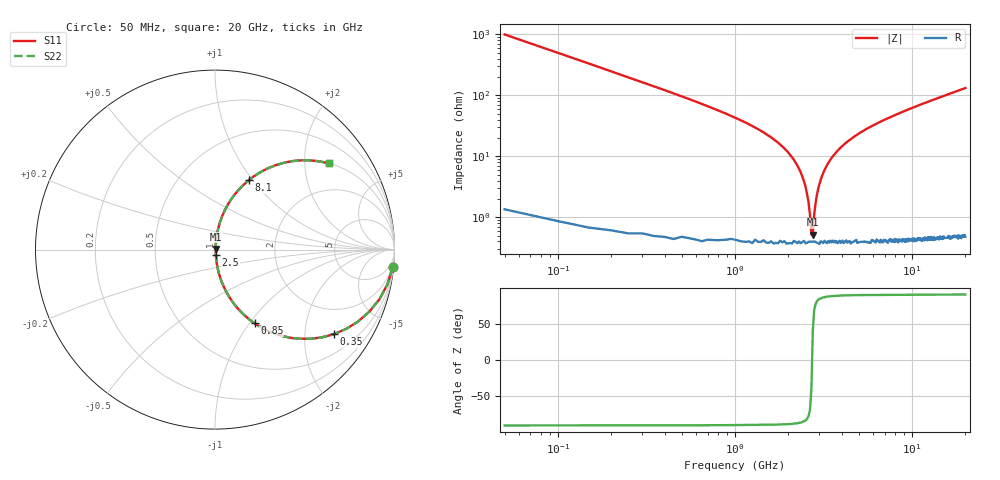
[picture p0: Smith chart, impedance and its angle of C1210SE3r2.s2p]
! AVX Thin Film Operation		Date: April 2012
! Description: Accu-P® Series, Thin Film, SMD, RF Capacitor
! Part Number: 12101J3R2ABTTR
!	100	MHz	-	20.05	GHz
!	Serial	Measurements
#	MHZ	S	MA	R	50
!	S11	S21	S12	S22
!	dB	Phase	dB	Phase	dB	Phase	dB	Phase
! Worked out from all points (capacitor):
!   400 points, 50 MHz to 20 GHz, reference 50 ohm
!   read as one part in series: C = 3.2 pF near 150 MHz
!   lowest |Z| = 518 mohm at 2.75 GHz (marker M1)
!   series resonance near 2.725 GHz, so ESL is about 1.1 nH
!   S11 on the Smith chart (normalised r, x): 50 MHz: 1, -20; 350 MHz: 1.01, -2.80; 850 MHz: 1.01, -1.06; 2.5 GHz: 1.01, -0.06; 8.1 GHz: 1.01, +0.96; 20 GHz: 1.01, +2.63
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50  0.995 -5.7  0.1 84.2  0.1 84.2  0.995 -5.7
100  0.98 -11.4  0.197 78.5  0.197 78.5  0.98 -11.4
150  0.957 -16.8  0.289 73.1  0.289 73.1  0.957 -16.8
350  0.812 -35.5  0.581 54.3  0.581 54.3  0.812 -35.5
850  0.466 -61.8  0.881 27.7  0.881 27.7  0.466 -61.8
2000  0.114 -81.5  0.99 6.5  0.99 6.5  0.114 -81.5
2300  0.062 -82.9  0.994 3.5  0.994 3.5  0.062 -82.9
2500  0.032 -81.1  0.996 1.8  0.996 1.8  0.032 -81.1
2600  0.018 -76.2  0.996 1.0  0.996 1.0  0.018 -76.2
2700  0.005122 -40.5  0.996 0.2  0.996 0.2  0.005122 -40.5
2750  0.00512 40.4  0.996 -0.2  0.996 -0.2  0.00512 40.4
2800  0.011 68.0  0.996 -0.6  0.996 -0.6  0.011 68.0
2850  0.017 75.7  0.996 -0.9  0.996 -0.9  0.017 75.7
2950  0.029 80.7  0.996 -1.7  0.996 -1.7  0.029 80.7
3400  0.081 82.6  0.993 -4.6  0.993 -4.6  0.081 82.6
4650  0.2 77.4  0.976 -11.5  0.976 -11.5  0.2 77.4
6700  0.35 68.9  0.933 -20.5  0.933 -20.5  0.35 68.9
8100  0.432 63.9  0.898 -25.6  0.898 -25.6  0.432 63.9
10050  0.528 57.8  0.846 -31.8  0.846 -31.8  0.528 57.8
13350  0.649 49.2  0.757 -40.5  0.757 -40.5  0.649 49.2
16700  0.735 42.5  0.675 -47.3  0.675 -47.3  0.735 42.5
20000  0.795 37.2  0.604 -52.6  0.604 -52.6  0.795 37.2
